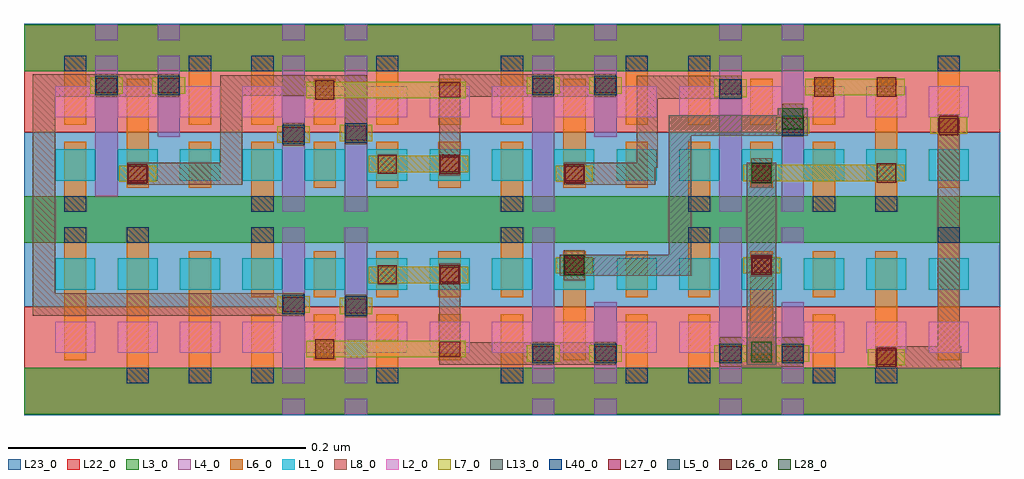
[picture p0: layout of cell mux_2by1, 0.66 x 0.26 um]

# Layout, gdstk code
from math import pi, radians
import gdstk
lib = gdstk.Library(unit=1e-6, precision=2.5e-10)
def R(c, l, rs):  # rectangles x0, y0, x1, y1
    for r in rs: c.add(gdstk.rectangle(r[:2], r[2:], *l))
def A(c, l, x, y, w, h, nx, ny, dx, dy):  # array of equal rectangles
    R(c, l, [(x+i*dx, y+j*dy, x+i*dx+w, y+j*dy+h) for i in range(nx) for j in range(ny)])
def P(c, l, *ps):  # polygons
    for p in ps: c.add(gdstk.Polygon(p, *l))
L1_0 = (1, 0)
L2_0 = (2, 0)
L3_0 = (3, 0)
L4_0 = (4, 0)
L5_0 = (5, 0)
L6_0 = (6, 0)
L7_0 = (7, 0)
L8_0 = (8, 0)
L13_0 = (13, 0)
L22_0 = (22, 0)
L23_0 = (23, 0)
L26_0 = (26, 0)
L27_0 = (27, 0)
L28_0 = (28, 0)
L40_0 = (40, 0)

nor = lib.new_cell('nor')
A(nor, L1_0, 0.178, 0.0425, 0.027, 0.021, 4, 1, 0.042, 0)
A(nor, L2_0, 0.178, 0.085, 0.027, 0.021, 4, 1, 0.042, 0)
R(nor, L3_0, [(0.157,0.0005,0.352,0.032), (0.157,0.116,0.352,0.1475)])
R(nor, L4_0, [(0.205,0.0005,0.22,0.011), (0.247,0.0005,0.262,0.011), (0.205,0.0215,0.22,0.1265), (0.247,0.0215,0.262,0.1265), (0.205,0.137,0.22,0.1475), (0.247,0.137,0.262,0.1475)])
R(nor, L5_0, [(0.247,0.073,0.262,0.086), (0.205,0.0975,0.22,0.1105)])
R(nor, L6_0, [(0.184,0.0215,0.199,0.0685), (0.268,0.0215,0.283,0.0685), (0.226,0.0375,0.241,0.0685), (0.31,0.0375,0.325,0.111), (0.184,0.08,0.199,0.1265), (0.226,0.08,0.241,0.111), (0.268,0.08,0.283,0.111)])
R(nor, L7_0, [(0.221,0.042,0.33,0.053), (0.2435,0.074,0.2655,0.085), (0.2015,0.0985,0.2235,0.1105), (0.263,0.1,0.33,0.111)])
R(nor, L8_0, [(0.2265,0.0375,0.2405,0.0575), (0.2475,0.072,0.2615,0.087), (0.2055,0.098,0.2195,0.113)])
R(nor, L13_0, [(0.2235,0.0405,0.2435,0.0545)])
R(nor, L22_0, [(0.157,0.075,0.352,0.1475)])
R(nor, L23_0, [(0.157,0.0005,0.352,0.075), (0.157,0.1475,0.352,0.148)])
R(nor, L26_0, [(0.227,0.041,0.24,0.054), (0.311,0.041,0.324,0.054), (0.269,0.099,0.282,0.112), (0.311,0.099,0.324,0.112)])
R(nor, L27_0, [(0.2265,0.0425,0.2405,0.0525), (0.2475,0.0745,0.2615,0.0845), (0.2055,0.1005,0.2195,0.1105)])
R(nor, L28_0, [(0.2265,0.0405,0.2405,0.0545)])
R(nor, L40_0, [(0.184,0.0215,0.199,0.032), (0.268,0.0215,0.283,0.032), (0.184,0.116,0.199,0.1265)])

inv = lib.new_cell('inv')
A(inv, L1_0, 0.021, 0.042, 0.027, 0.021, 3, 1, 0.042, 0)
A(inv, L2_0, 0.021, 0.0845, 0.027, 0.021, 3, 1, 0.042, 0)
R(inv, L3_0, [(0,0,0.153,0.0315), (0,0.1155,0.153,0.147)])
R(inv, L4_0, [(0.048,0.0315,0.063,0.126), (0.09,0.0715,0.105,0.126), (0.048,0.1365,0.063,0.147), (0.09,0.1365,0.105,0.147)])
R(inv, L5_0, [(0.048,0.0995,0.063,0.1125), (0.09,0.0995,0.105,0.1125)])
R(inv, L6_0, [(0.027,0.021,0.042,0.068), (0.069,0.037,0.084,0.1105), (0.111,0.037,0.126,0.068), (0.027,0.0795,0.042,0.126), (0.111,0.0795,0.126,0.126)])
R(inv, L7_0, [(0.064,0.041,0.089,0.052), (0.0445,0.1005,0.0665,0.1115), (0.0865,0.1005,0.1085,0.1115)])
R(inv, L8_0, [(0.0695,0.039,0.0835,0.054), (0.0485,0.0985,0.1045,0.1135)])
R(inv, L22_0, [(0,0.0745,0.153,0.147)])
R(inv, L23_0, [(0,0,0.153,0.0745), (0,0.147,0.153,0.1475)])
R(inv, L26_0, [(0.07,0.04,0.083,0.053)])
R(inv, L27_0, [(0.0695,0.0415,0.0835,0.0515), (0.0485,0.101,0.0625,0.111), (0.0905,0.101,0.1045,0.111)])
R(inv, L40_0, [(0.027,0.021,0.042,0.0315), (0.027,0.1155,0.042,0.126), (0.111,0.1155,0.126,0.126)])

sram_filler = lib.new_cell('sram_filler')
R(sram_filler, L1_0, [(0.022,0.042,0.049,0.063), (0.064,0.042,0.091,0.063)])
R(sram_filler, L2_0, [(0.022,0.0845,0.049,0.1055), (0.064,0.0845,0.091,0.1055)])
R(sram_filler, L3_0, [(0.001,0,0.112,0.0315), (0.001,0.1155,0.112,0.147)])
R(sram_filler, L6_0, [(0.028,0.021,0.043,0.1105), (0.07,0.037,0.085,0.126)])
R(sram_filler, L22_0, [(0.001,0.0745,0.112,0.147)])
R(sram_filler, L23_0, [(0.001,0,0.112,0.0745), (0.001,0.147,0.112,0.1475)])
R(sram_filler, L40_0, [(0.028,0.021,0.043,0.0315), (0.07,0.1155,0.085,0.126)])

nand = lib.new_cell('nand')
A(nand, L1_0, 0.1255, 0.099, 0.027, 0.021, 4, 1, 0.042, 0)
A(nand, L2_0, 0.1255, 0.1415, 0.027, 0.021, 4, 1, 0.042, 0)
R(nand, L3_0, [(0.1045,0.057,0.2995,0.0885), (0.1045,0.1725,0.2995,0.204)])
R(nand, L4_0, [(0.1525,0.057,0.1675,0.0675), (0.1945,0.057,0.2095,0.0675), (0.1525,0.078,0.1675,0.183), (0.1945,0.078,0.2095,0.183), (0.1525,0.1935,0.1675,0.204), (0.1945,0.1935,0.2095,0.204)])
R(nand, L5_0, [(0.1525,0.1235,0.1675,0.1365), (0.1945,0.1245,0.2095,0.1375)])
A(nand, L6_0, 0.1735, 0.094, 0.015, 0.031, 3, 1, 0.042, 0)
R(nand, L6_0, [(0.1315,0.078,0.1465,0.125), (0.1315,0.1365,0.1465,0.183), (0.1735,0.1365,0.1885,0.1675), (0.2155,0.1365,0.2305,0.183), (0.2575,0.1365,0.2725,0.1675)])
R(nand, L7_0, [(0.2105,0.1045,0.2775,0.1155), (0.149,0.1245,0.171,0.1355), (0.191,0.1255,0.213,0.1365), (0.1685,0.1545,0.276,0.1655)])
R(nand, L8_0, [(0.258,0.1025,0.272,0.1675), (0.153,0.1225,0.167,0.1375), (0.195,0.1235,0.209,0.1385)])
R(nand, L22_0, [(0.1045,0.1315,0.2995,0.204)])
R(nand, L23_0, [(0.1045,0.057,0.2995,0.1315), (0.1045,0.204,0.2995,0.2045)])
R(nand, L26_0, [(0.2165,0.1035,0.2295,0.1165), (0.2585,0.1035,0.2715,0.1165), (0.1745,0.1535,0.1875,0.1665)])
R(nand, L27_0, [(0.258,0.105,0.272,0.115), (0.153,0.125,0.167,0.135), (0.195,0.126,0.209,0.136), (0.258,0.155,0.272,0.165)])
R(nand, L40_0, [(0.1315,0.078,0.1465,0.0885), (0.1315,0.1725,0.1465,0.183), (0.2155,0.1725,0.2305,0.183)])

mux_2by1 = lib.new_cell('mux_2by1')
A(mux_2by1, L1_0, 0.2725, 0.241, 0.027, 0.021, 3, 2, 0.042, 0.0735)
A(mux_2by1, L1_0, 0.5665, 0.3145, 0.027, 0.021, 3, 1, 0.042, 0)
R(mux_2by1, L1_0, [(0.4405,0.241,0.4675,0.262), (0.4825,0.241,0.5095,0.262), (0.5665,0.241,0.5935,0.262), (0.6085,0.241,0.6355,0.262), (0.1465,0.3145,0.1735,0.3355), (0.1885,0.3145,0.2155,0.3355), (0.4405,0.3145,0.4675,0.3355), (0.4825,0.3145,0.5095,0.3355)])
A(mux_2by1, L2_0, 0.4405, 0.1985, 0.027, 0.021, 6, 1, 0.042, 0)
A(mux_2by1, L2_0, 0.1465, 0.357, 0.027, 0.021, 3, 1, 0.042, 0)
A(mux_2by1, L2_0, 0.4405, 0.357, 0.027, 0.021, 3, 1, 0.042, 0)
R(mux_2by1, L3_0, [(0.328,0.2845,0.3355,0.293)])
A(mux_2by1, L4_0, 0.3415, 0.178, 0.015, 0.105, 3, 2, 0.126, 0.1155)
R(mux_2by1, L4_0, [(0.2995,0.178,0.3145,0.283), (0.5095,0.178,0.5245,0.2325), (0.6355,0.178,0.6505,0.2325), (0.2995,0.2935,0.3145,0.3985), (0.6355,0.2935,0.6505,0.3985), (0.1735,0.304,0.1885,0.3985), (0.2155,0.344,0.2305,0.3985), (0.5095,0.344,0.5245,0.3985)])
R(mux_2by1, L6_0, [(0.6985,0.19,0.7135,0.201), (0.7405,0.346,0.7555,0.357)])
R(mux_2by1, L7_0, [(0.6935,0.19,0.7185,0.201), (0.7355,0.346,0.7605,0.357)])
R(mux_2by1, L8_0, [(0.594,0.189,0.65,0.209), (0.405,0.1905,0.468,0.2055), (0.489,0.2475,0.503,0.2675), (0.636,0.346,0.65,0.366), (0.405,0.371,0.468,0.386)])
P(mux_2by1, L8_0, [(0.7555,0.359),(0.7555,0.203),(0.7565,0.203),(0.7565,0.188),(0.699,0.188),(0.699,0.203),(0.7405,0.203),(0.7405,0.359)],
  [(0.6085,0.385),(0.6085,0.3695),(0.552,0.3695),(0.552,0.323),(0.5505,0.323),(0.5505,0.3115),(0.489,0.3115),(0.489,0.3265),(0.538,0.3265),(0.538,0.385)],
  [(0.3565,0.3855),(0.3565,0.339),(0.3415,0.339),(0.3415,0.3715),(0.2725,0.3715),(0.2725,0.3115),(0.195,0.3115),(0.195,0.3265),(0.2575,0.3265),(0.2575,0.3855)],
  [(0.188,0.386),(0.188,0.371),(0.1465,0.371),(0.1465,0.2385),(0.314,0.2385),(0.314,0.2235),(0.1315,0.2235),(0.1315,0.386)])
R(mux_2by1, L13_0, [(0.612,0.1905,0.632,0.3265)])
P(mux_2by1, L13_0, [(0.653,0.363),(0.653,0.3445),(0.5745,0.3445),(0.5745,0.2505),(0.486,0.2505),(0.486,0.2645),(0.5595,0.2645),(0.5595,0.3585),(0.633,0.3585),(0.633,0.363)])
R(mux_2by1, L26_0, [(0.6995,0.189,0.7125,0.202), (0.7415,0.345,0.7545,0.358)])
R(mux_2by1, L27_0, [(0.699,0.1905,0.713,0.2005), (0.741,0.3465,0.755,0.3565)])
R(mux_2by1, L28_0, [(0.615,0.192,0.629,0.206), (0.489,0.2505,0.503,0.2645), (0.636,0.349,0.65,0.363)])
mux_2by1.add(gdstk.Reference(nor, (0.3885,0.272)))
mux_2by1.add(gdstk.Reference(inv, (0.4195,0.304), x_reflection=True))
mux_2by1.add(gdstk.Reference(inv, (0.5455,0.304), x_reflection=True))
mux_2by1.add(gdstk.Reference(inv, (0.4195,0.2725)))
mux_2by1.add(gdstk.Reference(inv, (0.1255,0.2725)))
mux_2by1.add(gdstk.Reference(sram_filler, (0.6705,0.2725)))
mux_2by1.add(gdstk.Reference(sram_filler, (0.7835,0.304), rotation=pi))
mux_2by1.add(gdstk.Reference(sram_filler, (0.1245,0.304), x_reflection=True))
mux_2by1.add(gdstk.Reference(sram_filler, (0.1665,0.304), x_reflection=True))
mux_2by1.add(gdstk.Reference(nand, (0.147,0.361), x_reflection=True))
mux_2by1.add(gdstk.Reference(nand, (0.147,0.2155)))

lib.write_gds('mux_2by1.gds')
